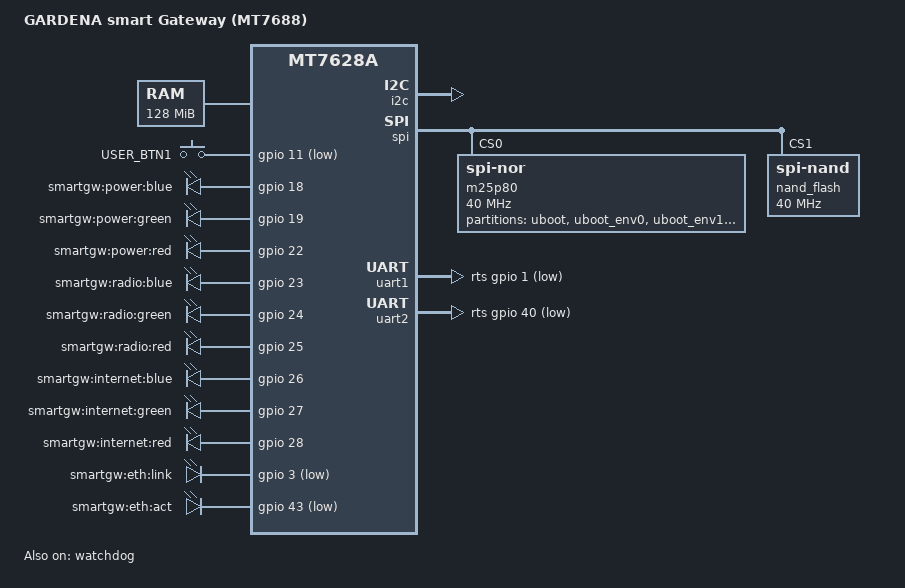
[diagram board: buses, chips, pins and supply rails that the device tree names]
// SPDX-License-Identifier: GPL-2.0
/*
 * Copyright (c) 2019 Stefan Roese <sr@denx.de>
 */

/dts-v1/;

/include/ "mt7628a.dtsi"

#include <dt-bindings/gpio/gpio.h>
#include <dt-bindings/input/input.h>

/ {
	compatible = "gardena,smart-gateway-mt7688", "ralink,mt7688a-soc",
		     "ralink,mt7628a-soc";
	model = "GARDENA smart Gateway (MT7688)";

	memory@0 {
		device_type = "memory";
		reg = <0x0 0x8000000>;
	};

	gpio-keys {
		compatible = "gpio-keys";

		pinctrl-names = "default";
		pinctrl-0 = <&pinmux_gpio_gpio>;	/* GPIO11 */

		user_btn1 {
			label = "USER_BTN1";
			gpios = <&gpio 11 GPIO_ACTIVE_LOW>;
			linux,code =<KEY_PROG1> ;
		};
	};

	leds {
		compatible = "gpio-leds";

		pinctrl-names = "default";
		pinctrl-0 = <&pinmux_pwm0_gpio>,	/* GPIO18 */
			    <&pinmux_pwm1_gpio>,	/* GPIO19 */
			    <&pinmux_sdmode_gpio>,	/* GPIO22..29 */
			    <&pinmux_p0led_an_gpio>;	/* GPIO43 */
		/*
		 * <&pinmux_i2s_gpio> (covers GPIO0..3) is needed here as
		 * well for GPIO3. But this is already claimed for uart1
		 * (see below). So we can't include it in this LED node.
		 */

		power_blue {
			label = "smartgw:power:blue";
			gpios = <&gpio 18 GPIO_ACTIVE_HIGH>;
			default-state = "off";
		};

		power_green {
			label = "smartgw:power:green";
			gpios = <&gpio 19 GPIO_ACTIVE_HIGH>;
			default-state = "off";
		};

		power_red {
			label = "smartgw:power:red";
			gpios = <&gpio 22 GPIO_ACTIVE_HIGH>;
			default-state = "off";
		};

		radio_blue {
			label = "smartgw:radio:blue";
			gpios = <&gpio 23 GPIO_ACTIVE_HIGH>;
			default-state = "off";
		};

		radio_green {
			label = "smartgw:radio:green";
			gpios = <&gpio 24 GPIO_ACTIVE_HIGH>;
			default-state = "off";
		};

		radio_red {
			label = "smartgw:radio:red";
			gpios = <&gpio 25 GPIO_ACTIVE_HIGH>;
			default-state = "off";
		};

		internet_blue {
			label = "smartgw:internet:blue";
			gpios = <&gpio 26 GPIO_ACTIVE_HIGH>;
			default-state = "off";
		};

		internet_green {
			label = "smartgw:internet:green";
			gpios = <&gpio 27 GPIO_ACTIVE_HIGH>;
			default-state = "off";
		};

		internet_red {
			label = "smartgw:internet:red";
			gpios = <&gpio 28 GPIO_ACTIVE_HIGH>;
			default-state = "off";
		};

		ethernet_link {
			label = "smartgw:eth:link";
			gpios = <&gpio 3 GPIO_ACTIVE_LOW>;
			linux,default-trigger = "netdev";
		};

		ethernet_activity {
			label = "smartgw:eth:act";
			gpios = <&gpio 43 GPIO_ACTIVE_LOW>;
			linux,default-trigger = "netdev";
		};
	};

	aliases {
		serial0 = &uart0;
	};
};

&i2c {
	status = "okay";
};

&spi {
	status = "okay";

	pinctrl-names = "default";
	pinctrl-0 = <&pinmux_spi_spi>, <&pinmux_spi_cs1_cs>;

	m25p80@0 {
		compatible = "jedec,spi-nor";
		reg = <0>;
		spi-max-frequency = <40000000>;

		partitions {
			compatible = "fixed-partitions";
			#address-cells = <1>;
			#size-cells = <1>;

			partition@0 {
				label = "uboot";
				reg = <0x0 0xa0000>;
				read-only;
			};

			partition@a0000 {
				label = "uboot_env0";
				reg = <0xa0000 0x10000>;
			};

			partition@b0000 {
				label = "uboot_env1";
				reg = <0xb0000 0x10000>;
			};

			factory: partition@c0000 {
				label = "factory";
				reg = <0xc0000 0x10000>;
				read-only;
			};
		};
	};

	nand_flash@1 {
		compatible = "spi-nand";
		linux,mtd-name = "gd5f";
		reg = <1>;
		spi-max-frequency = <40000000>;
	};
};

&uart1 {
	status = "okay";

	pinctrl-names = "default";
	pinctrl-0 = <&pinmux_i2s_gpio>;		/* GPIO0..3 */

	rts-gpios = <&gpio 1 GPIO_ACTIVE_LOW>;
	cts-gpios = <&gpio 2 GPIO_ACTIVE_LOW>;
};

&uart2 {
	status = "okay";

	pinctrl-names = "default";
	pinctrl-0 = <&pinmux_p2led_an_gpio>,	/* GPIO41 */
		    <&pinmux_p3led_an_gpio>;	/* GPIO40 */

	rts-gpios = <&gpio 40 GPIO_ACTIVE_LOW>;
	cts-gpios = <&gpio 41 GPIO_ACTIVE_LOW>;
};

&watchdog {
	status = "okay";
};
